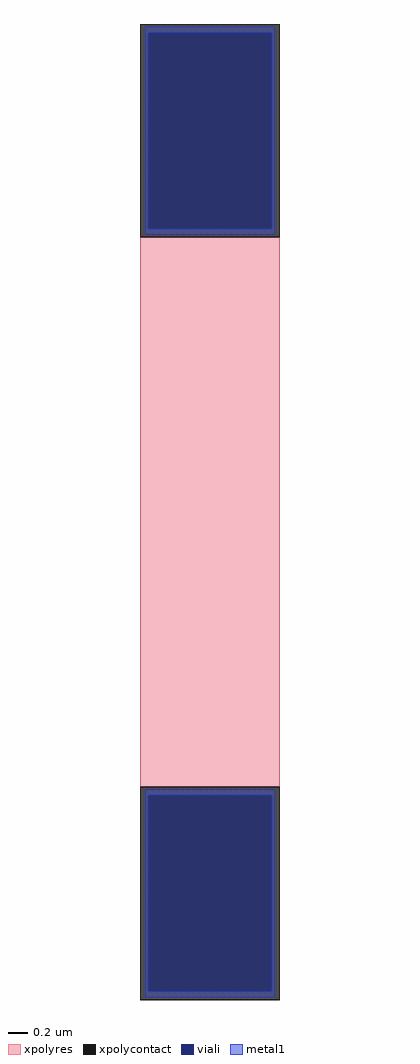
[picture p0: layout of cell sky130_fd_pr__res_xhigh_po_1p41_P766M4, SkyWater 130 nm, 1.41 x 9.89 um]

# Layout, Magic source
magic
tech sky130A
magscale 1 2
<< xpolycontact >>
rect -141 557 141 989
rect -141 -989 141 -557
<< xpolyres >>
rect -141 -557 141 557
<< viali >>
rect -125 574 125 971
rect -125 -971 125 -574
<< metal1 >>
rect -131 971 131 983
rect -131 574 -125 971
rect 125 574 131 971
rect -131 562 131 574
rect -131 -574 131 -562
rect -131 -971 -125 -574
rect 125 -971 131 -574
rect -131 -983 131 -971
<< properties >>
string gencell sky130_fd_pr__res_xhigh_po_1p41
string library sky130
string parameters w 1.410 l 5.73 m 1 nx 1 wmin 1.410 lmin 0.50 rho 2000 val 8.394k dummy 0 dw 0.0 term 188.2 sterm 0.0 caplen 0 wmax 1.410 guard 0 glc 1 grc 1 gtc 1 gbc 1 compatible {sky130_fd_pr__res_xhigh_po_0p35  sky130_fd_pr__res_xhigh_po_0p69 sky130_fd_pr__res_xhigh_po_1p41  sky130_fd_pr__res_xhigh_po_2p85 sky130_fd_pr__res_xhigh_po_5p73} snake 0 full_metal 1 n_guard 0 hv_guard 0 vias 1 viagb 0 viagt 0 viagl 0 viagr 0
<< end >>
